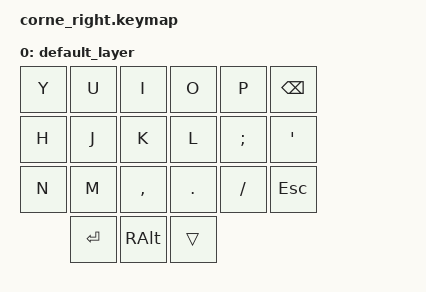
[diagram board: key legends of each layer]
/ {
    keymap {
        compatible = "zmk,keymap";

        default_layer {
            bindings = <
                &kp Y     &kp U      &kp I      &kp O     &kp P     &kp BSPC
                &kp H     &kp J      &kp K      &kp L     &kp SEMI  &kp SQT
                &kp N     &kp M      &kp COMMA  &kp DOT   &kp FSLH  &kp ESC
                           &kp RET   &kp RALT   &trans
            >;
        };
    };
};
